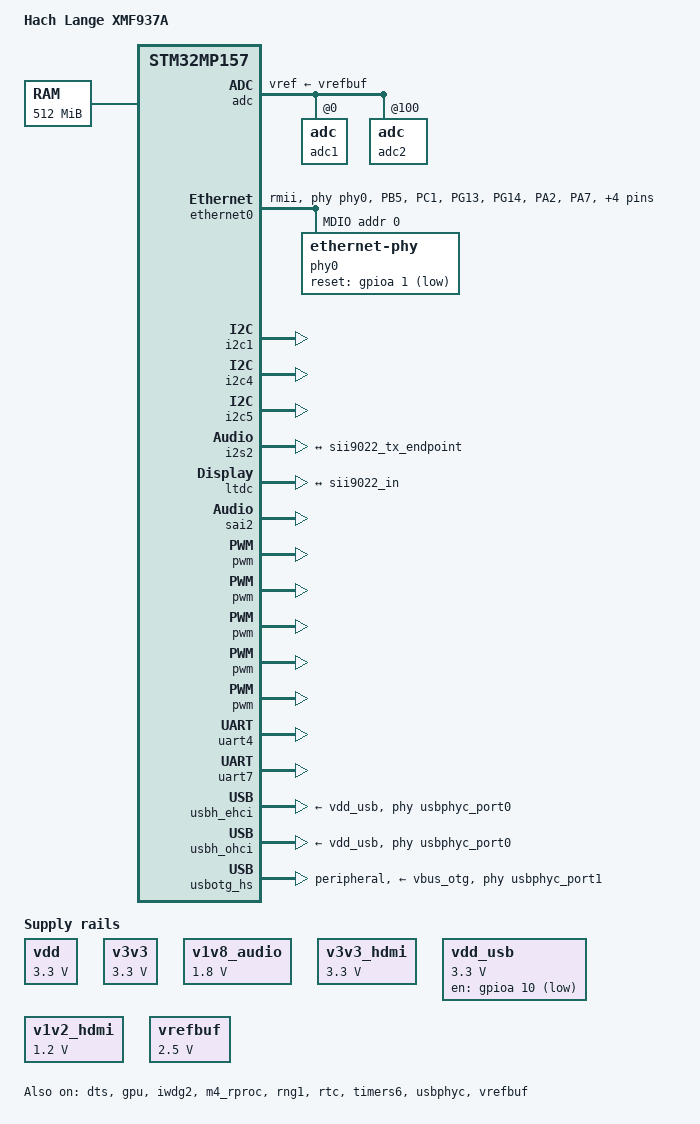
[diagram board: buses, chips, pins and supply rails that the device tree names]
// SPDX-License-Identifier: (GPL-2.0+ OR BSD-3-Clause)
/*
 * Copyright (C) emtrion GmbH 2021 - All Rights Reserved
 */

/dts-v1/;

#include "stm32mp157.dtsi"
#include "stm32mp15xc.dtsi"
#include "stm32mp15-pinctrl.dtsi"
#include "stm32mp15xxac-pinctrl.dtsi"
#include "stm32mp157-m4-srm.dtsi"
#include "stm32mp157-m4-srm-pinctrl.dtsi"
#include "stm32mp157c-emsbc-argon-u-boot.dtsi"
#include <dt-bindings/gpio/gpio.h>
#include <dt-bindings/input/input.h>
#include <dt-bindings/mfd/st,stpmic1.h>

/ {
	model = "Hach Lange XMF937A";
	compatible = "emtrion,stm32mp157c-emstamp-argon", "st,stm32mp157";

	aliases {
		ethernet0 = &ethernet0;
		serial0 = &uart4;
		serial1 = &usart3;
		serial2 = &uart7;
	};

	chosen {
		stdout-path = "serial2:115200n8";
	};

	memory@c0000000 {
		reg = <0xc0000000 0x20000000>;
	};

	reserved-memory {
		#address-cells = <1>;
		#size-cells = <1>;
		ranges;

		retram: retram@38000000 {
			compatible = "shared-dma-pool";
			reg = <0x38000000 0x10000>;
			no-map;
		};

		mcuram: mcuram@30000000 {
			compatible = "shared-dma-pool";
			reg = <0x30000000 0x40000>;
			no-map;
		};

		mcuram2: mcuram2@10000000 {
			compatible = "shared-dma-pool";
			reg = <0x10000000 0x40000>;
			no-map;
		};

		vdev0vring0: vdev0vring0@10040000 {
			compatible = "shared-dma-pool";
			reg = <0x10040000 0x2000>;
			no-map;
		};

		vdev0vring1: vdev0vring1@10042000 {
			compatible = "shared-dma-pool";
			reg = <0x10042000 0x2000>;
			no-map;
		};

		vdev0buffer: vdev0buffer@10044000 {
			compatible = "shared-dma-pool";
			reg = <0x10044000 0x4000>;
			no-map;
		};

		gpu_reserved: gpu@dc000000 {
			reg = <0xdc000000 0x4000000>;
			no-map;
		};
	};

	sound {
		compatible = "audio-graph-card";
		label = "STM32MP1-DK";
		routing =
			"Playback" , "MCLK",
			"Capture" , "MCLK",
			"MICL" , "Mic Bias";
		dais = <&sai2a_port &sai2b_port &i2s2_port>;
		status = "okay";
	};

	usb_phy_tuning: usb-phy-tuning {
		st,hs-dc-level = <2>;
		st,fs-rftime-tuning;
		st,hs-rftime-reduction;
		st,hs-current-trim = <15>;
		st,hs-impedance-trim = <1>;
		st,squelch-level = <3>;
		st,hs-rx-offset = <2>;
		st,no-lsfs-sc;
	};

	vddcore: vddcore {
                compatible = "regulator";
                regulator-name = "vddcore";
                regulator-min-microvolt = <1200000>;
                regulator-max-microvolt = <1350000>;
                regulator-always-on;
        };


        vdd: vdd {
                compatible = "regulator-fixed";
                regulator-name = "vdd";
                regulator-min-microvolt = <3300000>;
                regulator-max-microvolt = <3300000>;
                regulator-always-on;
        };

        v3v3: v3v3 {
                compatible = "regulator-fixed";
                regulator-name = "v3v3";
                regulator-min-microvolt = <3300000>;
                regulator-max-microvolt = <3300000>;
                regulator-always-on;
        };

	v1v8_audio: v1v8_audio {
                compatible = "regulator-fixed";
                regulator-name = "v1v8_audio";
                regulator-min-microvolt = <1800000>;
                regulator-max-microvolt = <1800000>;
                regulator-always-on;
        };

	v3v3_hdmi: v3v3_hdmi {
                compatible = "regulator-fixed";
                regulator-name = "v3v3_hdmi";
                regulator-min-microvolt = <3300000>;
                regulator-max-microvolt = <3300000>;
                regulator-always-on;
        };
	

	vdd_usb: vdd_usb {
                compatible = "regulator-fixed";
                regulator-name = "vdd_usb";
                enable-active-low;
                gpio = <&gpioa 10 GPIO_ACTIVE_LOW>;
                regulator-min-microvolt = <3300000>;
                regulator-max-microvolt = <3300000>;
        };

	v1v2_hdmi: v1v2_hdmi {
                compatible = "regulator-fixed";
                regulator-name = "v1v2_hdmi";
                regulator-min-microvolt = <1200000>;
                regulator-max-microvolt = <1200000>;
                regulator-always-on;
        };

        vbus_otg: vbus_otg {
                regulator-name = "vbus_otg";
        };

	vbus_sw: vbus_sw {
                regulator-name = "vbus_sw";
        };

};

&pinctrl {
	ethernet0_rmii_pins_a: eth0_mx-0 {
		pins1 {
			pinmux = <STM32_PINMUX('B', 5, AF0)>, /* ETH1_CLK */
				<STM32_PINMUX('C', 1, AF11)>, /* ETH1_MDC */
				<STM32_PINMUX('G', 13, AF11)>, /* ETH1_TXD0 */
				<STM32_PINMUX('G', 14, AF11)>; /* ETH1_TXD1 */
			bias-disable;
			drive-push-pull;
			slew-rate = <1>;
		};
		pins2 {
			pinmux = <STM32_PINMUX('A', 2, AF11)>; /* ETH1_MDIO */
			bias-disable;
			drive-push-pull;
			slew-rate = <0>;
		};
		pins3 {
			pinmux = <STM32_PINMUX('A', 7, AF11)>, /* ETH1_CRS_DV */
			<STM32_PINMUX('C', 4, AF11)>, /* ETH1_RXD0 */
			<STM32_PINMUX('C', 5, AF11)>; /* ETH1_RXD1 */
			bias-disable;
		};
		pins4 {
			pinmux = <STM32_PINMUX('B', 11, AF11)>; /* ETH1_TX_EN */
		};
	};
	ethernet0_rmii_pins_sleep_a: eth1_sleep_mx-0 {
		pins {
			pinmux = <STM32_PINMUX('A', 2, ANALOG)>, /* ETH1_MDIO */
				<STM32_PINMUX('A', 7, ANALOG)>, /* ETH1_CRS_DV */
				<STM32_PINMUX('B', 5, ANALOG)>, /* ETH1_CLK */
				<STM32_PINMUX('B', 11, ANALOG)>, /* ETH1_TX_EN */
				<STM32_PINMUX('C', 1, ANALOG)>, /* ETH1_MDC */
				<STM32_PINMUX('C', 4, ANALOG)>, /* ETH1_RXD0 */
				<STM32_PINMUX('C', 5, ANALOG)>, /* ETH1_RXD1 */
				<STM32_PINMUX('G', 13, ANALOG)>, /* ETH1_TXD0 */
				<STM32_PINMUX('G', 14, ANALOG)>; /* ETH1_TXD1 */
		};
	};
};

&adc {
	pinctrl-names = "default";
	pinctrl-0 = <&m4_adc12_usb_pwr_pins_a>;
	vdd-supply = <&vdd>;
	vdda-supply = <&vdd>;
	vref-supply = <&vrefbuf>;
	status = "okay";
	adc1: adc@0 {
		/*
		 * Type-C USB_PWR_CC1 & USB_PWR_CC2 on in18 & in19.
		 * Use at least 5 * RC time, e.g. 5 * (Rp + Rd) * C:
		 * 5 * (56 + 47kOhms) * 5pF => 2.5us.
		 * Use arbitrary margin here (e.g. 5µs).
		 */
		st,min-sample-time-nsecs = <5000>;
		/* ANA0, ANA1, USB Type-C CC1 & CC2 */
		st,adc-channels = <0 1 18 19>;
		status = "okay";
	};
	adc2: adc@100 {
		/* ANA0, ANA1, temp sensor, USB Type-C CC1 & CC2 */
		st,adc-channels = <0 1 12 18 19>;
		/* temperature sensor min sample time */
		st,min-sample-time-nsecs = <10000>;
		status = "okay";
	};
	adc_temp: temp {
		status = "okay";
	};
};

&cec {
	pinctrl-names = "default", "sleep";
	pinctrl-0 = <&cec_pins_b>;
	pinctrl-1 = <&cec_pins_sleep_b>;
	status = "disabled";
};

&sram {
	dma_pool: dma_pool@0 {
		reg = <0x50000 0x10000>;
		pool;
	};
};

&dma1 {
	sram = <&dma_pool>;
};

&dma2 {
	sram = <&dma_pool>;
};

&dts {
	status = "okay";
};

&ethernet0 {
	status = "okay";
	pinctrl-0 = <&ethernet0_rmii_pins_a>;
	pinctrl-1 = <&ethernet0_rmii_pins_sleep_a>;
	pinctrl-names = "default", "sleep";
	phy-mode = "rmii";
	max-speed = <100>;
	phy-handle = <&phy0>;
	nvmem-cells = <&ethernet_mac_address>;
	nvmem-cell-names = "mac-address";
	clock-names = "stmmaceth",
		"mac-clk-tx",
		"mac-clk-rx",
		"ethstp",
		"eth-ck",
		"syscfg-clk";
	clocks = <&rcc ETHMAC>,
		<&rcc ETHTX>,
		<&rcc ETHRX>,
		<&rcc ETHSTP>,
		<&rcc ETHCK_K>,
		<&rcc SYSCFG>;
	st,eth_ref_clk_sel;
	phy-reset-gpios = <&gpioa 1 GPIO_ACTIVE_LOW>;
	mdio0 {
		#address-cells = <1>;
		#size-cells = <0>;
		compatible = "snps,dwmac-mdio";
		phy0: ethernet-phy@0 {
			reg = <0>;
			reset-gpios = <&gpioa 1 GPIO_ACTIVE_LOW>;
		};
	};
};

&gpu {
	contiguous-area = <&gpu_reserved>;
	status = "okay";
};

&i2c1 {
	pinctrl-names = "default", "sleep";
	pinctrl-0 = <&i2c1_pins_a>;
	pinctrl-1 = <&i2c1_pins_sleep_a>;
	i2c-scl-rising-time-ns = <100>;
	i2c-scl-falling-time-ns = <7>;
	status = "okay";
	/delete-property/dmas;
	/delete-property/dma-names;

	cs42l51: cs42l51@4a {
		compatible = "cirrus,cs42l51";
		reg = <0x4a>;
		#sound-dai-cells = <0>;
		status = "disable";

		VL-supply = <&v3v3>;
		VD-supply = <&v1v8_audio>;
		VA-supply = <&v1v8_audio>;
		VAHP-supply = <&v1v8_audio>;

		reset-gpios = <&gpiog 9 GPIO_ACTIVE_LOW>;

		clocks = <&sai2a>;
		clock-names = "MCLK";

		cs42l51_port: port {
			#address-cells = <1>;
			#size-cells = <0>;

			cs42l51_tx_endpoint: endpoint@0 {
				reg = <0>;
				remote-endpoint = <&sai2a_endpoint>;
				frame-master;
				bitclock-master;
			};

			cs42l51_rx_endpoint: endpoint@1 {
				reg = <1>;
				remote-endpoint = <&sai2b_endpoint>;
				frame-master;
				bitclock-master;
			};
		};
	};

	hdmi-transmitter@39 {
		compatible = "sil,sii9022";
		reg = <0x39>;
		iovcc-supply = <&v3v3_hdmi>;
		cvcc12-supply = <&v1v2_hdmi>;
		reset-gpios = <&gpioa 10 GPIO_ACTIVE_LOW>;
		interrupts = <1 IRQ_TYPE_EDGE_FALLING>;
		interrupt-parent = <&gpiog>;
		pinctrl-names = "default", "sleep";
		pinctrl-0 = <&ltdc_pins_a>;
		pinctrl-1 = <&ltdc_pins_sleep_a>;
		status = "disabled";

		ports {
			#address-cells = <1>;
			#size-cells = <0>;

			port@0 {
				reg = <0>;
				sii9022_in: endpoint {
					remote-endpoint = <&ltdc_ep0_out>;
				};
			};

			port@1 {
				reg = <1>;
				sii9022_tx_endpoint: endpoint {
					remote-endpoint = <&i2s2_endpoint>;
				};
			};
		};
	};
};

&i2c4 {
	pinctrl-names = "default", "sleep";
	pinctrl-0 = <&i2c4_pins_a>;
	pinctrl-1 = <&i2c4_pins_sleep_a>;
	i2c-scl-rising-time-ns = <185>;
	i2c-scl-falling-time-ns = <20>;
	status = "okay";
	/delete-property/dmas;
	/delete-property/dma-names;

};

&i2c5 {
	pinctrl-names = "default", "sleep";
	pinctrl-0 = <&i2c5_pins_a>;
	pinctrl-1 = <&i2c5_pins_sleep_a>;
	i2c-scl-rising-time-ns = <185>;
	i2c-scl-falling-time-ns = <20>;
	status = "okay";
	/delete-property/dmas;
	/delete-property/dma-names;
};

&i2s2 {
	clocks = <&rcc SPI2>, <&rcc SPI2_K>, <&rcc PLL3_Q>, <&rcc PLL3_R>;
	clock-names = "pclk", "i2sclk", "x8k", "x11k";
	pinctrl-names = "default", "sleep";
	pinctrl-0 = <&i2s2_pins_a>;
	pinctrl-1 = <&i2s2_pins_sleep_a>;
	status = "okay";

	i2s2_port: port {
		i2s2_endpoint: endpoint {
			remote-endpoint = <&sii9022_tx_endpoint>;
			format = "i2s";
			mclk-fs = <256>;
		};
	};
};

&ipcc {
	status = "okay";
};

&iwdg2 {
	timeout-sec = <32>;
	status = "okay";
};

&ltdc {
	status = "okay";

	port {
		#address-cells = <1>;
		#size-cells = <0>;

		ltdc_ep0_out: endpoint@0 {
			reg = <0>;
			remote-endpoint = <&sii9022_in>;
		};
	};
};

&m4_rproc {
	memory-region = <&retram>, <&mcuram>, <&mcuram2>, <&vdev0vring0>,
			<&vdev0vring1>, <&vdev0buffer>;
	mboxes = <&ipcc 0>, <&ipcc 1>, <&ipcc 2>;
	mbox-names = "vq0", "vq1", "shutdown";
	interrupt-parent = <&exti>;
	interrupts = <68 1>;
	interrupt-names = "wdg";
	recovery;
	status = "okay";
};

&pwr_regulators {
	vdd-supply = <&vdd>;
	vdd_3v3_usbfs-supply = <&vdd_usb>;
};

&cpu0 {
	cpu-supply = <&vddcore>;
};

&cpu1 {
	cpu-supply = <&vddcore>;
};

&rng1 {
	status = "okay";
};

&rtc {
	status = "okay";
};

&sai2 {
	clocks = <&rcc SAI2>, <&rcc PLL3_Q>, <&rcc PLL3_R>;
	clock-names = "pclk", "x8k", "x11k";
	pinctrl-names = "default", "sleep";
	pinctrl-0 = <&sai2a_pins_a>, <&sai2b_pins_b>;
	pinctrl-1 = <&sai2a_sleep_pins_a>, <&sai2b_sleep_pins_b>;
	status = "okay";

	sai2a: audio-controller@4400b004 {
		#clock-cells = <0>;
		dma-names = "tx";
		clocks = <&rcc SAI2_K>;
		clock-names = "sai_ck";
		status = "okay";

		sai2a_port: port {
			sai2a_endpoint: endpoint {
				remote-endpoint = <&cs42l51_tx_endpoint>;
				format = "i2s";
				mclk-fs = <256>;
				dai-tdm-slot-num = <2>;
				dai-tdm-slot-width = <32>;
			};
		};
	};

	sai2b: audio-controller@4400b024 {
		dma-names = "rx";
		st,sync = <&sai2a 2>;
		status = "okay";
		clocks = <&rcc SAI2_K>, <&sai2a>;
		clock-names = "sai_ck", "MCLK";

		sai2b_port: port {
			sai2b_endpoint: endpoint {
				remote-endpoint = <&cs42l51_rx_endpoint>;
				format = "i2s";
				mclk-fs = <256>;
				dai-tdm-slot-num = <2>;
				dai-tdm-slot-width = <32>;
			};
		};
	};
};

&spi4 {
	pinctrl-names = "default", "sleep";
	pinctrl-0 = <&spi4_pins_a>;
	pinctrl-1 = <&spi4_sleep_pins_a>;
	status = "disabled";
};

&spi5 {
	pinctrl-names = "default", "sleep";
	pinctrl-0 = <&spi5_pins_a>;
	pinctrl-1 = <&spi5_sleep_pins_a>;
	status = "disabled";
};

&timers1 {
	/* spare dmas for other usage */
	/delete-property/dmas;
	/delete-property/dma-names;
	pwm {
		pinctrl-0 = <&pwm1_pins_a>;
		pinctrl-1 = <&pwm1_sleep_pins_a>;
		pinctrl-names = "default", "sleep";
		status = "okay";
	};
	timer@0 {
		status = "okay";
	};
};

&timers3 {
	/delete-property/dmas;
	/delete-property/dma-names;
	pwm {
		pinctrl-0 = <&pwm3_pins_a>;
		pinctrl-1 = <&pwm3_sleep_pins_a>;
		pinctrl-names = "default", "sleep";
		status = "okay";
	};
	timer@2 {
		status = "okay";
	};
};

&timers4 {
	/delete-property/dmas;
	/delete-property/dma-names;
	pwm {
		pinctrl-0 = <&pwm4_pins_a &pwm4_pins_b>;
		pinctrl-1 = <&pwm4_sleep_pins_a &pwm4_sleep_pins_b>;
		pinctrl-names = "default", "sleep";
		status = "okay";
	};
	timer@3 {
		status = "okay";
	};
};

&timers5 {
	/delete-property/dmas;
	/delete-property/dma-names;
	pwm {
		pinctrl-0 = <&pwm5_pins_a>;
		pinctrl-1 = <&pwm5_sleep_pins_a>;
		pinctrl-names = "default", "sleep";
		status = "okay";
	};
	timer@4 {
		status = "okay";
	};
};

&timers6 {
	status = "okay";
	/* spare dmas for other usage */
	/delete-property/dmas;
	/delete-property/dma-names;
	timer@5 {
		status = "okay";
	};
};

&timers12 {
	/delete-property/dmas;
	/delete-property/dma-names;
	pwm {
		pinctrl-0 = <&pwm12_pins_a>;
		pinctrl-1 = <&pwm12_sleep_pins_a>;
		pinctrl-names = "default", "sleep";
		status = "okay";
	};
	timer@11 {
		status = "okay";
	};
};

&uart4 {
	pinctrl-names = "default", "sleep", "idle", "no_console_suspend";
	pinctrl-0 = <&uart4_pins_a>;
	pinctrl-1 = <&uart4_sleep_pins_a>;
	pinctrl-2 = <&uart4_idle_pins_a>;
	pinctrl-3 = <&uart4_pins_a>;
	status = "okay";
};

&uart7 {
	pinctrl-names = "default", "sleep", "idle";
	pinctrl-0 = <&uart7_pins_b>;
	pinctrl-1 = <&uart7_sleep_pins_b>;
	pinctrl-2 = <&uart7_idle_pins_b>;
	status = "okay";
};

&usart3 {
	pinctrl-names = "default", "sleep", "idle";
	pinctrl-0 = <&usart3_pins_b>;
	pinctrl-1 = <&usart3_sleep_pins_b>;
	pinctrl-2 = <&usart3_idle_pins_b>;
	status = "disabled";
};

&usbh_ehci {
	phys = <&usbphyc_port0>;
	vbus-supply = <&vdd_usb>;
	phy-names = "usb";
	status = "okay";
};

&usbh_ohci {
        phys = <&usbphyc_port0>;
        vbus-supply = <&vdd_usb>;
        phy-names = "usb";
        status = "okay";
};

&usbotg_hs {
	pinctrl-names = "default";
	pinctrl-0 = <&usbotg_hs_pins_a>;
	vbus-supply = <&vbus_otg>;
	usb1600;
	hnp-srp-disable;
	dr_mode = "peripheral";
	force-b-session-valid;
	phys = <&usbphyc_port1 0>;
	phy-names = "usb2-phy";
	status = "okay";
};

&usbphyc {
	status = "okay";
};

&usbphyc_port0 {
	phy-supply = <&vdd_usb>;
	vbus-supply = <&vdd_usb>;
	st,phy-tuning = <&usb_phy_tuning>;
};

&usbphyc_port1 {
	phy-supply = <&vdd_usb>;
	vbus-supply = <&vdd_usb>;
	st,phy-tuning = <&usb_phy_tuning>;
};

&vrefbuf {
	regulator-min-microvolt = <2500000>;
	regulator-max-microvolt = <2500000>;
	vdda-supply = <&vdd>;
	status = "okay";
};

&v3v3 {
	regulator-always-on;
};
